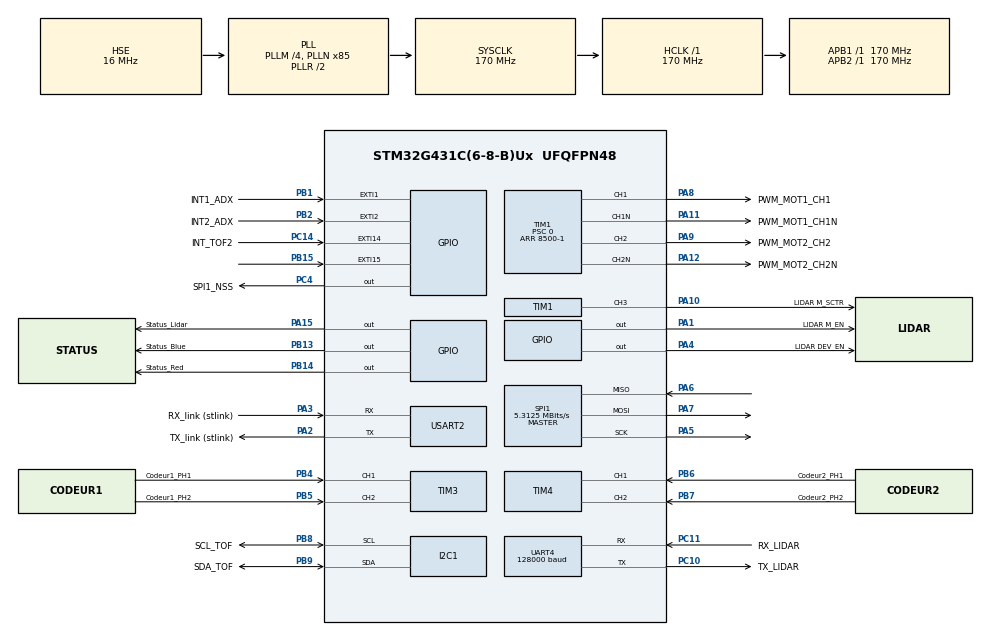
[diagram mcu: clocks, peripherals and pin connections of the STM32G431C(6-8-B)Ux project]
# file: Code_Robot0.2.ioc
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Dma.Request0=UART4_RX
Dma.UART4_RX.0.Direction=DMA_PERIPH_TO_MEMORY
Dma.UART4_RX.0.EventEnable=DISABLE
Dma.UART4_RX.0.Instance=DMA1_Channel1
Dma.UART4_RX.0.MemDataAlignment=DMA_MDATAALIGN_BYTE
Dma.UART4_RX.0.MemInc=DMA_MINC_ENABLE
Dma.UART4_RX.0.Mode=DMA_CIRCULAR
Dma.UART4_RX.0.PeriphDataAlignment=DMA_PDATAALIGN_BYTE
Dma.UART4_RX.0.PeriphInc=DMA_PINC_DISABLE
Dma.UART4_RX.0.Polarity=HAL_DMAMUX_REQ_GEN_RISING
Dma.UART4_RX.0.Priority=DMA_PRIORITY_HIGH
Dma.UART4_RX.0.RequestNumber=1
Dma.UART4_RX.0.SignalID=NONE
Dma.UART4_RX.0.SyncEnable=DISABLE
Dma.UART4_RX.0.SyncPolarity=HAL_DMAMUX_SYNC_NO_EVENT
Dma.UART4_RX.0.SyncRequestNumber=1
Dma.UART4_RX.0.SyncSignalID=NONE
FREERTOS.Tasks01=defaultTask,0,128,StartDefaultTask,Default,NULL,Dynamic,NULL,NULL
FREERTOS.configTOTAL_HEAP_SIZE=20000
I2C1.Timing=0x40B285C2
Mcu.Family=STM32G4
Mcu.Name=STM32G431C(6-8-B)Ux
Mcu.Package=UFQFPN48
NVIC.DMA1_Channel1_IRQn=true\:5\:0\:false\:false\:true\:true\:false\:true\:true
NVIC.EXTI15_10_IRQn=true\:5\:0\:false\:false\:true\:true\:true\:true\:true
NVIC.EXTI1_IRQn=true\:5\:0\:false\:false\:true\:true\:true\:true\:true
NVIC.EXTI2_IRQn=true\:5\:0\:false\:false\:true\:true\:true\:true\:true
NVIC.PriorityGroup=NVIC_PRIORITYGROUP_4
NVIC.TIM6_DAC_IRQn=true\:15\:0\:false\:false\:true\:false\:false\:true\:true
NVIC.TimeBase=TIM6_DAC_IRQn
NVIC.TimeBaseIP=TIM6
NVIC.UART4_IRQn=true\:5\:0\:false\:false\:true\:true\:true\:true\:true
PA1.GPIO_Label=LIDAR M_EN
PA1.Signal=GPIO_Output
PA10.GPIO_Label=LIDAR M_SCTR
PA10.Signal=S_TIM1_CH3
PA11.GPIO_Label=PWM_MOT1_CH1N
PA11.Mode=PWM Generation1 CH1 CH1N
PA11.Signal=TIM1_CH1N
PA12.GPIO_Label=PWM_MOT2_CH2N
PA12.Mode=PWM Generation2 CH2 CH2N
PA12.Signal=TIM1_CH2N
PA13.Mode=Serial_Wire
PA13.Signal=SYS_JTMS-SWDIO
PA14.Mode=Serial_Wire
PA14.Signal=SYS_JTCK-SWCLK
PA15.GPIO_Label=Status_Lidar
PA15.Signal=GPIO_Output
PA2.GPIO_Label=TX_link (stlink)
PA2.Mode=Asynchronous
PA2.Signal=USART2_TX
PA3.GPIO_Label=RX_link (stlink)
PA3.Mode=Asynchronous
PA3.Signal=USART2_RX
PA4.GPIO_Label=LIDAR DEV_EN
PA4.Signal=GPIO_Output
PA5.Mode=Full_Duplex_Master
PA5.Signal=SPI1_SCK
PA6.Mode=Full_Duplex_Master
PA6.Signal=SPI1_MISO
PA7.Mode=Full_Duplex_Master
PA7.Signal=SPI1_MOSI
PA8.GPIO_Label=PWM_MOT1_CH1
PA8.Signal=S_TIM1_CH1
PA9.GPIO_Label=PWM_MOT2_CH2
PA9.Signal=S_TIM1_CH2
PB1.GPIO_Label=INT1_ADX
PB1.Signal=GPXTI1
PB13.GPIO_Label=Status_Blue
PB13.Signal=GPIO_Output
PB14.GPIO_Label=Status_Red
PB14.Signal=GPIO_Output
PB15.Signal=GPXTI15
PB2.GPIO_Label=INT2_ADX
PB2.Signal=GPXTI2
PB4.GPIO_Label=Codeur1_PH1
PB4.Signal=S_TIM3_CH1
PB5.GPIO_Label=Codeur1_PH2
PB5.Signal=S_TIM3_CH2
PB6.GPIO_Label=Codeur2_PH1
PB6.Signal=S_TIM4_CH1
PB7.GPIO_Label=Codeur2_PH2
PB7.Signal=S_TIM4_CH2
PB8-BOOT0.GPIO_Label=SCL_TOF
PB8-BOOT0.Mode=I2C
PB8-BOOT0.Signal=I2C1_SCL
PB9.GPIO_Label=SDA_TOF
PB9.Mode=I2C
PB9.Signal=I2C1_SDA
PC10.GPIO_Label=TX_LIDAR
PC10.Mode=Asynchronous
PC10.Signal=UART4_TX
PC11.GPIO_Label=RX_LIDAR
PC11.Mode=Asynchronous
PC11.Signal=UART4_RX
PC14-OSC32_IN.GPIO_Label=INT_TOF2
PC14-OSC32_IN.Signal=GPXTI14
PC4.GPIO_Label=SPI1_NSS
PC4.PinState=GPIO_PIN_SET
PC4.Signal=GPIO_Output
PF0-OSC_IN.Mode=HSE-External-Oscillator
PF0-OSC_IN.Signal=RCC_OSC_IN
PF1-OSC_OUT.Mode=HSE-External-Oscillator
PF1-OSC_OUT.Signal=RCC_OSC_OUT
ProjectManager.HeapSize=0x200
ProjectManager.StackSize=0x400
ProjectManager.TargetToolchain=STM32CubeIDE
RCC.ADC12Freq_Value=170000000
RCC.AHBFreq_Value=170000000
RCC.APB1Freq_Value=170000000
RCC.APB1TimFreq_Value=170000000
RCC.APB2Freq_Value=170000000
RCC.APB2TimFreq_Value=170000000
RCC.CortexFreq_Value=170000000
RCC.EXTERNAL_CLOCK_VALUE=12288000
RCC.HCLKFreq_Value=170000000
RCC.HSE_VALUE=16000000
RCC.HSI48_VALUE=48000000
RCC.HSI_VALUE=16000000
RCC.LSE_VALUE=32768
RCC.PLLM=RCC_PLLM_DIV4
RCC.PLLN=85
RCC.PLLSourceVirtual=RCC_PLLSOURCE_HSE
RCC.SYSCLKFreq_VALUE=170000000
RCC.SYSCLKSource=RCC_SYSCLKSOURCE_PLLCLK
RCC.USBFreq_Value=170000000
RCC.VCOOutputFreq_Value=340000000
SH.S_TIM1_CH1.0=TIM1_CH1,PWM Generation1 CH1 CH1N
SH.S_TIM1_CH2.0=TIM1_CH2,PWM Generation2 CH2 CH2N
SH.S_TIM1_CH3.0=TIM1_CH3,PWM Generation3 CH3
SH.S_TIM3_CH1.0=TIM3_CH1,Encoder_Interface
SH.S_TIM3_CH2.0=TIM3_CH2,Encoder_Interface
SH.S_TIM4_CH1.0=TIM4_CH1,Encoder_Interface
SH.S_TIM4_CH2.0=TIM4_CH2,Encoder_Interface
SPI1.BaudRatePrescaler=SPI_BAUDRATEPRESCALER_32
SPI1.CLKPhase=SPI_PHASE_2EDGE
SPI1.CLKPolarity=SPI_POLARITY_HIGH
SPI1.CalculateBaudRate=5.3125 MBits/s
SPI1.DataSize=SPI_DATASIZE_8BIT
SPI1.Direction=SPI_DIRECTION_2LINES
SPI1.Mode=SPI_MODE_MASTER
SPI1.VirtualType=VM_MASTER
TIM1.AutoReloadPreload=TIM_AUTORELOAD_PRELOAD_ENABLE
TIM1.Channel-PWM\ Generation1\ CH1\ CH1N=TIM_CHANNEL_1
TIM1.Channel-PWM\ Generation2\ CH2\ CH2N=TIM_CHANNEL_2
TIM1.Channel-PWM\ Generation3\ CH3=TIM_CHANNEL_3
TIM1.CounterMode=TIM_COUNTERMODE_CENTERALIGNED1
TIM1.PeriodNoDither=8500-1
TIM1.Prescaler=0
TIM1.PulseNoDither_1=3400
TIM1.PulseNoDither_2=3400
UART4.BaudRate=128000
USART2.VirtualMode-Asynchronous=VM_ASYNC
VP_FREERTOS_VS_CMSIS_V1.Mode=CMSIS_V1
VP_SYS_VS_DBSignals.Mode=DisableDeadBatterySignals
VP_SYS_VS_tim6.Mode=TIM6
VP_TIM1_VS_ClockSourceINT.Mode=Internal
board=custom

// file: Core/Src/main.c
/* USER CODE BEGIN Header */
/**
 ******************************************************************************
 * @file           : main.c
 * @brief          : Main program body
 ******************************************************************************
 * @attention
 * Author: StealthKitty
 * Copyright (c) 2024 STMicroelectronics.
 * All rights reserved.
 *
 * This software is licensed under terms that can be found in the LICENSE file
 * in the root directory of this software component.
 * If no LICENSE file comes with this software, it is provided AS-IS.
 *
 ******************************************************************************
 */
/* USER CODE END Header */
#include "main.h"
#include "cmsis_os.h"
#include "dma.h"
#include "i2c.h"
#include "spi.h"
#include "tim.h"
#include "usart.h"
#include "gpio.h"

/* USER CODE BEGIN Includes */
#include "stdio.h"
#include "vl53l1_platform.h"
#include "VL53L1X_api.h"
#include "string.h"
#include "moteur.h"
#include "ADXL343_SPI.h"
#include "drv_LIDAR.h"

/**
 * @brief Redirects printf to UART2 for debugging purposes.
 * @param file: Unused parameter for file descriptor.
 * @param ptr: Pointer to the buffer containing the data to send.
 * @param len: Length of the data to send.
 * @return The number of characters sent.
 */
int _write(int file, char *ptr, int len) {
	HAL_UART_Transmit(&huart2, (uint8_t *)ptr, len, HAL_MAX_DELAY);
	return len;
}

/**
 * Global variables
 */
extern SPI_HandleTypeDef hspi1;
ADXL343 accelerometer;
#define MAX_OBJECTS 100
extern uint8_t g_raw_data[BUFFER_SIZE];
extern int g_current_idx;
extern uint16_t g_PH;
extern uint8_t g_CT;
extern uint8_t g_LSN;
extern uint16_t g_start_angle;
extern uint16_t g_end_angle;
extern uint8_t g_packet_data[PACKET_SIZE];
extern int g_object_angles[MAX_OBJECTS];
extern int g_object_distances[MAX_OBJECTS];
extern int g_obj_count;

/* USER CODE END Includes */

/* USER CODE BEGIN PD */

/* Configuration FreeRTOS */
#define STACK_SIZE 256
/* USER CODE END PD */

/* USER CODE BEGIN PV */

TaskHandle_t h_task_bord = NULL; /**< Task handle for managing a specific task. */

int frame_start = 0; /**< Start index of the LIDAR frame. */
int frame_end = 0; /**< End index of the LIDAR frame. */

int dist_min = 0; /**< Minimum detected distance. */
int idx_min = 0; /**< Index of the closest detected object. */

SemaphoreHandle_t SemHalfCallBack; /**< Semaphore for half DMA completion. */
SemaphoreHandle_t SemClpCallBack; /**< Semaphore for complete DMA transfer. */

/* USER CODE END PV */

/**
 * @brief Configures the system clock.
 */
void SystemClock_Config(void);
/**
 * @brief Initializes FreeRTOS objects.
 */
void MX_FREERTOS_Init(void);
/* USER CODE BEGIN PFP */
int uart_it_transmit_local(uint8_t *p_data, uint16_t size) {
    HAL_UART_Transmit_IT(&huart4, p_data, size);
    return 0;
}

int uart_dma_transmit_local(uint8_t *p_data, uint16_t size) {
    HAL_UART_Transmit_DMA(&huart4, p_data, size);
    return 0;
}

int uart_poll_receive_local(uint8_t *p_data, uint16_t size) {
    HAL_UART_Receive(&huart4, p_data, size, HAL_MAX_DELAY);
    return 0;
}

int uart_it_receive_local(uint8_t *p_data, uint16_t size) {
    HAL_UART_Receive_IT(&huart4, p_data, size);
    return 0;
}
//void Task_MotorControl(void *argument);
/* USER CODE END PFP */

/* USER CODE BEGIN 0 */
void SystemClock_Config(void);
/* USER CODE BEGIN PFP */

/* USER CODE END PFP */

/* Private user code ---------------------------------------------------------*/
/* USER CODE BEGIN 0 */

/*-----------------------------------------Test---------------------------------------*/
/*void task_Bord(void * unused)
{
	printf("task_Bord démarrée.\n");
	for(;;) {
		ulTaskNotifyTake(pdTRUE, portMAX_DELAY);
		VL53L1X_ClearInterrupt(TOF_ADDR);
		printf(" Attention, seuil franchi !\n");
		VL53L1X_ClearInterrupt(TOF_ADDR);
	}
}*/

/*
void task_SensorMeasurement(void *unused) {
	printf("task_SensorMeasurement démarrée.\n");
	uint16_t distance ;
	uint8_t rangeStatus = 0;

	while (1) {
		VL53L1X_CheckForDataReady(TOF_ADDR, &rangeStatus);
		if (rangeStatus == 0) {
			VL53L1X_GetDistance(TOF_ADDR, &distance);
			printf("Distance mesurée : %d mm\n", distance);
		}
		vTaskDelay(pdMS_TO_TICKS(500));
	}
}
 */

/*void Task_MotorControl(void *argument) {

	printf("Tâche MotorControl démarrée.\n");
	// Choisissez un alpha adapté à la PWM
	uint16_t alpha = 1200;  // 30% de 8500
	uint16_t distance = 0;  // Distance mesurée par le capteur
	const uint32_t delta_time_ms = 50;  // Intervalle de temps pour le calcul
	const uint16_t encoder_resolution = 1024;  // Nombre d'impulsions par tour

	for (;;) {
		// Lire la distance avec VL53L1X
		if (VL53L1X_GetDistance(TOF_ADDR, &distance) == 0) {
			printf("Distance mesurée : %d mm\n", distance);

			// Vérifier si la distance dépasse le seuil critique
			if (distance > 250) {
				// Arrêter les moteurs
				stop_r();
				stop_l();
				printf("Danger détecté : moteur arrêté. Pivot arrière en cours...\n");

				// Effectuer un pivot en arrière
				reverse_r(alpha + 3050);       // Moteur droit recule
				reverse_l(alpha );   // Moteur gauche recule plus lentement pour pivoter
				vTaskDelay(pdMS_TO_TICKS(600)); // Pivot pendant 1,5 seconde

				// Arrêter les moteurs après le pivot
				stop_r();
				stop_l();
				vTaskDelay(pdMS_TO_TICKS(200));
				forward_r(alpha+ 2450);
				vTaskDelay(pdMS_TO_TICKS(320));
				printf("Pivot terminé, moteurs arrêtés.\n");
			} else {
				forward_r(alpha + 1650);
				forward_l(alpha+ 150);

				// Calcul et affichage des vitesses
				float speed_left = calculate_motor_speed(MOTOR_LEFT, delta_time_ms, encoder_resolution);
				float speed_right = calculate_motor_speed(MOTOR_RIGHT, delta_time_ms, encoder_resolution);

				printf("Vitesse moteur gauche : %.2f tours/s\n", speed_left);
				printf("Vitesse moteur droit : %.2f tours/s\n", speed_right);
			}
		} else {
			printf("Erreur : lecture de la distance impossible.\n");
		}
		printf("Position moteur gauche : %d\n", __HAL_TIM_GET_COUNTER(&htim3));
		printf("Position moteur droit : %d\n", __HAL_TIM_GET_COUNTER(&htim4));

		vTaskDelay(pdMS_TO_TICKS(delta_time_ms)); // Vérification toutes les 100 ms
	}
}*/
/*----------------------------------------Fin-------------------------------------------*/

/**
 * @brief Task to manage the ADXL343 accelerometer.
 * @param argument: Pointer to the task arguments (if any).
 */
void vTaskADX(void *argument)
{
	// Initialisation de l'accéléromètre
	ADXL343_initialization(&hspi1, &accelerometer);
	ADXL343_EnableTapInterrupts(&accelerometer);
	ADXL343_set_tap_parameters(&accelerometer, 20, 1, 80, 200);
	ADXL343_SetDataFormat(&hspi1, 0x03); // Configurer en ±16g

	// Variables pour suivre l'état des LEDs et le mode moteur
	uint8_t led_state = 0;    // 0 = rouge, 1 = bleu
	uint8_t motor_mode = 0;  // 0 = souris, 1 = prédateur

	printf("Tâche ADXL343 démarrée. Attente des tapotements...\n");

	while (1)
	{
		// Attente de détection de tap
		vTaskDelay(pdMS_TO_TICKS(500));

		// Si un tap est détecté
		if (ADXL343_check_tap(&accelerometer)) {
			// Alterner les LEDs
			if (led_state == 0) {
				HAL_GPIO_WritePin(GPIOB, Status_Red_Pin, GPIO_PIN_SET);    // LED rouge ON
				HAL_GPIO_WritePin(GPIOB, Status_Blue_Pin, GPIO_PIN_RESET); // LED bleue OFF
				led_state = 1;
			} else {
				HAL_GPIO_WritePin(GPIOB, Status_Red_Pin, GPIO_PIN_RESET); // LED rouge OFF
				HAL_GPIO_WritePin(GPIOB, Status_Blue_Pin, GPIO_PIN_SET);  // LED bleue ON
				led_state = 0;
			}

			// Alterner le mode moteur
			if (motor_mode == 0)
			{
				vTaskDelay(pdMS_TO_TICKS(1000));
				printf("Mode Prédateur activé.\n");
				motorcontrol_predateur(); // Activer le mode prédateur
				motor_mode = 1;
			}
			else
			{
				vTaskDelay(pdMS_TO_TICKS(1000));
				printf("Mode Souris activé.\n");
				motorcontrol_souris(); // Activer le mode souris
				motor_mode = 0;
			}
		}
	}
}

/**
 * @brief Task for the VL53L1X ToF sensor.
 * @param argument: Pointer to the task arguments (if any).
 */

void vTaskToF(void *argument) {
	uint16_t distance;
	uint8_t range_status;

	while (1) {
		// Vérifier la disponibilité des données
		VL53L1X_CheckForDataReady(TOF_ADDR, &range_status);
		if (range_status == 0) {
			VL53L1X_GetDistance(TOF_ADDR, &distance);
			printf("Distance mesurée : %d mm\n", distance);

			if (distance > 250) {
				pivot(); // Effectuer un pivot
			}
		}
		vTaskDelay(pdMS_TO_TICKS(500)); // Vérification rapide
	}
}

/**
 * @brief Tâche pour gérer le LIDAR et les moteurs.
 */
void TaskLIDAR(void * pvParameters) {

	// Paramètres d'asservissement
//	const int VITESSE_BASE = 400;     // Vitesse nominale
//	const int VITESSE_MAX = 800;      // Vitesse maximale
//	const float Kp = 2.0;             // Gain proportionnel
//
//	// Variables de contrôle
//	uint16_t alpha1 = 0, alpha2 = 0;  // Commandes moteurs
//	uint16_t angle = 0;               // Angle mesuré
//	uint16_t vitesse = 0;             // Distance mesurée
//	int16_t erreur_angle = 0;         // Erreur en angle
//	int16_t correction = 0;           // Correction à appliquer
//	const uint8_t cat = 1;            // 1 = mode chat, 0 = mode souris

	// Variables de traitement de trame
	int frame_start = 0;
	int frame_end = 0;
	int dist_min = 0;
	int idx_min = 0;

	// Initialisation des moteurs
//	DRV_MOT_Init(&motor_left, MTR1_CHANNEL);
//	DRV_MOT_Init(&motor_right, MTR2_CHANNEL);

	printf("Démarrage de la tâche d'asservissement sur LIDAR\r\n");

	for(;;) {
		// Attente du signal de demi-buffer DMA rempli
		xSemaphoreTake(SemHalfCallBack, portMAX_DELAY);

		// Parcours du buffer complet
		for(int i=0; i<BUFFER_SIZE; i++) {
			// Attente seconde moitié buffer
			if(i == BUFFER_SIZE/2) {
				xSemaphoreTake(SemClpCallBack, portMAX_DELAY);
			}

			// Détection en-tête de trame
			if(i == 0) {
				if((g_raw_data[i] == 0xA5) && (g_raw_data[i+1] == 0x5A) &&
						(g_raw_data[i+2] == 0x05) && (g_raw_data[i+3] == 0x00) &&
						(g_raw_data[i+4] == 0x00) && (g_raw_data[i+5] == 0x40) &&
						(g_raw_data[i+6] == 0x81)) {
					printf("Device Response Received\r\n");
					g_current_idx = 0;
					i = 6;
					frame_start = 7;
					frame_end = frame_start + 4;
				}
			}

			// Machine à états pour le parsing
			if(i == frame_start) {
				g_PH = g_raw_data[i];  // Octet bas PH
			}
			else if(i == frame_start + 1) {
				g_PH |= (g_raw_data[i] << 8);  // Octet haut PH
			}
			else if(i == frame_start + 2) {
				g_CT = g_raw_data[i];  // Type de paquet
			}
			else if(i == frame_start + 3) {
				frame_end = frame_start + 9 + 2*g_raw_data[i];
				g_LSN = g_raw_data[i];  // Nombre d'échantillons
			}
			else if(i == frame_start + 4) {
				g_start_angle = g_raw_data[i];  // Angle début bas
			}
			else if(i == frame_start + 5) {
				g_start_angle |= (g_raw_data[i] << 8);  // Angle début haut
			}
			else if(i == frame_start + 6) {
				g_end_angle = g_raw_data[i];  // Angle fin bas
			}
			else if(i == frame_start + 7) {
				g_end_angle |= (g_raw_data[i] << 8);  // Angle fin haut
			}
			else if(i == frame_end) {
				g_packet_data[g_current_idx++] = g_raw_data[i];

				// Traitement trame complète
				if(frame_end - frame_start > 11) {
					lidar_parse_data();
					smooth_data();
					detect_objects();
				}

				// Préparation prochaine trame
				g_current_idx = 0;
				frame_start = frame_end + 1;
				frame_end = frame_start + 4;
			}
			else {
				// Stockage données intermédiaires
				g_packet_data[g_current_idx++] = g_raw_data[i];
			}
		}

		// Ajustement indices pour prochain cycle
		frame_start -= BUFFER_SIZE;
		frame_end -= BUFFER_SIZE;

		// Recherche objet le plus proche
		printf("#\r\n");
		dist_min = 2000;
		idx_min = 0;

		for(int i=0; i < g_obj_count; i++) {
			printf("%d,%d\r\n", g_object_angles[i], g_object_distances[i]);

			if(g_object_distances[i] < dist_min && g_object_distances[i] != 0) {
				dist_min = g_object_distances[i];
				idx_min = i;
			}
		}

		//        // Récupération données objet le plus proche
		//        vitesse = g_object_distances[idx_min];
		//        angle = g_object_angles[idx_min];
		//
		//        printf("Objet Cible - Angle: %d°, Distance: %dmm\r\n", angle, vitesse);
		//
		//        if(cat) {
		//            // Mode CHAT : Poursuite de cible
		//            // Normalisation angle [-180°, 180°]
		//            if(angle > 180) {
		//                erreur_angle = angle - 360;
		//            } else {
		//                erreur_angle = angle;
		//            }
		//
		//            // Calcul correction proportionnelle
		//            correction = (int)(Kp * erreur_angle);
		//
		//            // Calcul vitesses moteurs
		//            alpha1 = VITESSE_BASE + correction;
		//            alpha2 = VITESSE_BASE - correction;
		//
		//            // Limitation vitesses
		//            if(alpha1 > VITESSE_MAX) alpha1 = VITESSE_MAX;
		//            if(alpha2 > VITESSE_MAX) alpha2 = VITESSE_MAX;
		//            if(alpha1 < 0) alpha1 = 0;
		//            if(alpha2 < 0) alpha2 = 0;
		//
		//            // Configuration sens rotation
		//            DRV_MOT_startMot_fwd(&motor_right);
		//            DRV_MOT_startMot_rev(&motor_left);
		//
		//            printf("Mode CHAT - Poursuite de la cible\r\n");
		//        } else {
		//            // Mode SOURIS : Fuite
		//            angle = (angle + 180) % 360;
		//
		//            if(angle > 180) {
		//                erreur_angle = angle - 360;
		//            } else {
		//                erreur_angle = angle;
		//            }
		//
		//            correction = (int)(Kp * erreur_angle);
		//
		//            alpha1 = VITESSE_BASE + correction;
		//            alpha2 = VITESSE_BASE - correction;
		//
		//            if(alpha1 > VITESSE_MAX) alpha1 = VITESSE_MAX;
		//            if(alpha2 > VITESSE_MAX) alpha2 = VITESSE_MAX;
		//            if(alpha1 < 0) alpha1 = 0;
		//            if(alpha2 < 0) alpha2 = 0;
		//
		//            DRV_MOT_startMot_rev(&motor_right);
		//            DRV_MOT_startMot_fwd(&motor_left);
		//
		//            printf("Mode SOURIS - Fuite de la cible\r\n");
		//        }
		//
		//        // Application vitesses aux moteurs
		//        DRV_MOT_SetSpeed(&motor_left, alpha1);
		//        DRV_MOT_SetSpeed(&motor_right, alpha2);
		//
		//        HAL_Delay(100);
		//
		//        printf("Commandes moteurs - Gauche: %d, Droite: %d\r\n", alpha1, alpha2);
	}
}

/* USER CODE END 0 */

int main(void)
{

	/* USER CODE BEGIN 1 */
	TaskHandle_t xHandleSensor = NULL;
	BaseType_t ret;
	/* USER CODE END 1 */

	/* MCU Configuration--------------------------------------------------------*/

	/* Reset of all peripherals, Initializes the Flash interface and the Systick. */
	HAL_Init();

	/* Configure the system clock */
	SystemClock_Config();

	/* Initialize all configured peripherals */
	MX_GPIO_Init();
	MX_DMA_Init();
	MX_I2C1_Init();
	MX_SPI1_Init();
	MX_USART2_UART_Init();
	MX_TIM1_Init();
	MX_TIM3_Init();
	MX_TIM4_Init();
	MX_UART4_Init();

	/* USER CODE BEGIN 2 */

	// Configuration des callbacks de communication
	// Assigner les fonctions UART aux pointeurs globaux
	extern int (*uart_transmit)(uint8_t *p_data, uint16_t size);
	extern int (*uart_poll_receive)(uint8_t *p_data, uint16_t size);
	extern int (*uart_it_receive)(uint8_t *p_data, uint16_t size);
	extern int (*uart_dma_receive)(uint8_t *p_data, uint16_t size);
	extern int (*uart_it_transmit)(uint8_t *p_data, uint16_t size);
	extern int (*uart_dma_transmit)(uint8_t *p_data, uint16_t size);

	// Initialisation des pointeurs
	uart_it_transmit = uart_it_transmit_local;
	uart_dma_transmit = uart_dma_transmit_local;
	uart_poll_receive = uart_poll_receive_local;
	uart_it_receive = uart_it_receive_local;

	// Démarrage du LIDAR et configuration DMA
	lidar_begin();
	HAL_UART_Receive_DMA(&huart4, g_raw_data, BUFFER_SIZE);

	// Initialisation du LIDAR
	lidar_end();
	lidar_query_status();
	lidar_check_health();

	// Création de la tâche LIDAR
	ret = xTaskCreate(TaskLIDAR, "TaskLIDAR", STACK_SIZE,
			(void *) NULL, 1, &xHandleSensor);// Tache Neutralisée car asser en angle pas fonctionnel
	if (ret != pdPASS)
	{
		printf("Error creating TaskSensor\r\n");
		Error_Handler();
	}

	// Création des sémaphores pour la synchronisation DMA
	SemHalfCallBack = xSemaphoreCreateBinary();
	SemClpCallBack = xSemaphoreCreateBinary();
	init_motors();

	//I2C_Scan();

	VL53L1__Init();
	printf("Initialisation du système STM32 terminée.\n");

	VL53L1X_StartRanging(TOF_ADDR); // Démarrer le capteur
	VL53L1X_SetDistanceThreshold(TOF_ADDR, 10, 250, 1, 0); // Définir le seuil de distance
	VL53L1X_SetInterruptPolarity(TOF_ADDR, 1); // Configurer la polarité de l'interruption
	VL53L1X_ClearInterrupt(TOF_ADDR); // Effacer les interruptions en attente

	// Créer les tâches FreeRTOS
	xTaskCreate(vTaskADX, "TaskADX", 256, NULL, 2, NULL);
	xTaskCreate(vTaskToF, "TaskToF", 256, NULL, 5, NULL);
	//xTaskCreate(TaskLIDAR, "TaskLIDAR", 256, NULL, 5, NULL);

	//xTaskCreate(task_Bord, "Bord", 128, NULL, 8, &h_task_bord);
	//xTaskCreate(task_SensorMeasurement, "SensorMeasurement", 256, NULL, 4, NULL);

	/* USER CODE END 2 */

	/* Call init function for freertos objects (in cmsis_os2.c) */
	MX_FREERTOS_Init();

	/* Start scheduler */
	osKernelStart();

	/* We should never get here as control is now taken by the scheduler */

	/* Infinite loop */
	/* USER CODE BEGIN WHILE */

	while (1)
	{

		//uint16_t distance;
		// Lecture de la distance avec vérification d'erreur
		/*if (VL53L1X_GetDistance(TOF_ADDR, &distance) == 0) {
		   printf("Distance mesurée : %d mm\n", distance);
		   } else {
		   printf("Erreur lors de la mesure.\n");
		   }*/

		//VL53L1__test();

		HAL_Delay(500);

		/* USER CODE END WHILE */

	}
}

void SystemClock_Config(void)
{
	RCC_OscInitTypeDef RCC_OscInitStruct = {0};
	RCC_ClkInitTypeDef RCC_ClkInitStruct = {0};

	/** Configure the main internal regulator output voltage
	 */
	HAL_PWREx_ControlVoltageScaling(PWR_REGULATOR_VOLTAGE_SCALE1_BOOST);

	/** Initializes the RCC Oscillators according to the specified parameters
	 * in the RCC_OscInitTypeDef structure.
	 */
	RCC_OscInitStruct.OscillatorType = RCC_OSCILLATORTYPE_HSE;
	RCC_OscInitStruct.HSEState = RCC_HSE_ON;
	RCC_OscInitStruct.PLL.PLLState = RCC_PLL_ON;
	RCC_OscInitStruct.PLL.PLLSource = RCC_PLLSOURCE_HSE;
	RCC_OscInitStruct.PLL.PLLM = RCC_PLLM_DIV4;
	RCC_OscInitStruct.PLL.PLLN = 85;
	RCC_OscInitStruct.PLL.PLLP = RCC_PLLP_DIV2;
	RCC_OscInitStruct.PLL.PLLQ = RCC_PLLQ_DIV2;
	RCC_OscInitStruct.PLL.PLLR = RCC_PLLR_DIV2;
	if (HAL_RCC_OscConfig(&RCC_OscInitStruct) != HAL_OK)
	{
		Error_Handler();
	}

	/** Initializes the CPU, AHB and APB buses clocks
	 */
	RCC_ClkInitStruct.ClockType = RCC_CLOCKTYPE_HCLK|RCC_CLOCKTYPE_SYSCLK
			|RCC_CLOCKTYPE_PCLK1|RCC_CLOCKTYPE_PCLK2;
	RCC_ClkInitStruct.SYSCLKSource = RCC_SYSCLKSOURCE_PLLCLK;
	RCC_ClkInitStruct.AHBCLKDivider = RCC_SYSCLK_DIV1;
	RCC_ClkInitStruct.APB1CLKDivider = RCC_HCLK_DIV1;
	RCC_ClkInitStruct.APB2CLKDivider = RCC_HCLK_DIV1;

	if (HAL_RCC_ClockConfig(&RCC_ClkInitStruct, FLASH_LATENCY_4) != HAL_OK)
	{
		Error_Handler();
	}
}

/* USER CODE BEGIN 4 */
void HAL_UART_RxHalfCpltCallback(UART_HandleTypeDef *huart)
{
	BaseType_t xHigherPriorityTaskWoken = pdFALSE;
	xSemaphoreGiveFromISR(SemHalfCallBack, &xHigherPriorityTaskWoken);
	portYIELD_FROM_ISR(xHigherPriorityTaskWoken);
}

void HAL_UART_RxCpltCallback(UART_HandleTypeDef *huart)
{
	BaseType_t xHigherPriorityTaskWoken = pdFALSE;
	xSemaphoreGiveFromISR(SemClpCallBack, &xHigherPriorityTaskWoken);
	portYIELD_FROM_ISR(xHigherPriorityTaskWoken);
}

void HAL_GPIO_EXTI_Callback(uint16_t GPIO_Pin)
{
	if (GPIO_Pin == INT_TOF2_Pin) {
		printf("Interruption détectée sur le capteur TOF.\n");

		// Effacer l'interruption immédiatement
		VL53L1X_ClearInterrupt(TOF_ADDR);
	}
}

/*void HAL_GPIO_EXTI_Callback(uint16_t GPIO_Pin)
{
	VL53L1X_ClearInterrupt(TOF_ADDR);
	printf("Tu tombe \n") ;
	VL53L1X_ClearInterrupt(TOF_ADDR);

}*/
/* USER CODE END 4 */

void HAL_TIM_PeriodElapsedCallback(TIM_HandleTypeDef *htim)
{
	if (htim->Instance == TIM6) {
		HAL_IncTick();
	}
}

void Error_Handler(void)
{
	__disable_irq();
	while (1)
	{
	}
}
